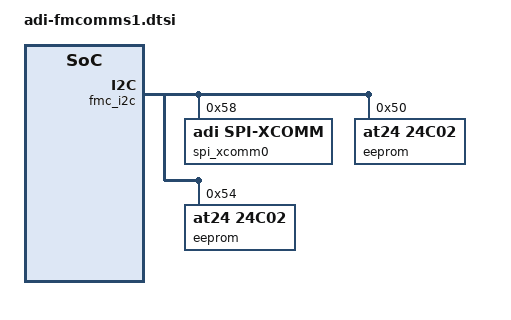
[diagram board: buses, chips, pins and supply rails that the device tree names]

&fmc_i2c {
	spi_xcomm0: spi_xcomm0@58 {
		#size-cells = <0>;
		#address-cells = <1>;
		compatible = "adi,spi-xcomm";
		reg = <0x58>;
		clksync0_ad9548: ad9548-lpc@6 {
			#address-cells = <1>;
			#size-cells = <0>;
			compatible = "adi,ad9548";
			reg = <2>;
			spi-3wire;
			spi-max-frequency = <10000000>;
		};
		clk0_ad9523: ad9523-lpc@3 {
			#address-cells = <1>;
			#size-cells = <0>;
			#clock-cells = <1>;
			compatible = "adi,ad9523-1";
			reg = <3>;
			spi-max-frequency = <10000000>;
			spi-3wire;
			clock-output-names = "ad9523-lpc_out0", "ad9523-lpc_out1", "ad9523-lpc_out2", "ad9523-lpc_out3", "ad9523-lpc_out4", "ad9523-lpc_out5", "ad9523-lpc_out6", "ad9523-lpc_out7", "ad9523-lpc_out8", "ad9523-lpc_out9", "ad9523-lpc_out10", "ad9523-lpc_out11", "ad9523-lpc_out12", "ad9523-lpc_out13";
			adi,vcxo-freq = <122880000>;
			adi,refb-diff-rcv-enable;
			adi,zd-in-diff-enable;
			adi,osc-in-cmos-neg-inp-enable;
			adi,refa-r-div = <0>;
			adi,refb-r-div = <0>;
			adi,pll1-feedback-div = <4>;
			adi,pll1-charge-pump-current-nA = <2000>;
			adi,refa-cmos-neg-inp-enable;
			adi,pll1-loop-filter-rzero = <3>;
			adi,ref-mode = <3>;
			adi,pll2-charge-pump-current-nA = <420000>;
			adi,pll2-ndiv-a-cnt = <0>;
			adi,pll2-ndiv-b-cnt = <3>;
			adi,pll2-freq-doubler-enable;
			adi,pll2-r2-div = <1>;
			adi,pll2-vco-div-m1 = <3>;
			adi,pll2-vco-div-m2 = <3>;
			adi,rpole2 = <0>;
			adi,rzero = <2>;
			adi,cpole1 = <2>;

			ad9523_0_c0:channel@0 {
				reg = <0>;
				adi,extended-name = "ZD_OUTPUT";
				adi,driver-mode = <2>;
				adi,divider-phase = <0>;
				adi,channel-divider = <8>;
			};
			ad9523_0_c12:channel@12 {
				reg = <12>;
				adi,extended-name = "DAC_CLK";
				adi,driver-mode = <1>;
				adi,divider-phase = <0>;
				adi,channel-divider = <2>;
			};
			ad9523_0_c2:channel@2 {
				reg = <2>;
				adi,extended-name = "ADC_CLK";
				adi,driver-mode = <3>;
				adi,divider-phase = <0>;
				adi,channel-divider = <4>;
			};
			ad9523_0_c10:channel@10 {
				reg = <10>;
				adi,extended-name = "DAC_REF_CLK";
				adi,driver-mode = <2>;
				adi,divider-phase = <0>;
				adi,channel-divider = <16>;
			};
			ad9523_0_c5:channel@5 {
				reg = <5>;
				adi,extended-name = "TX_LO_REF_CLK";
				adi,driver-mode = <8>; /* HiZ on - */
				adi,divider-phase = <0>;
				adi,channel-divider = <8>;
				adi,sync-ignore-enable;
			};
			ad9523_0_c6:channel@6 {
				reg = <6>;
				adi,extended-name = "DAC_DCO_CLK";
				adi,driver-mode = <3>;
				adi,divider-phase = <0>;
				adi,channel-divider = <2>;
			};
			ad9523_0_c7:channel@7 {
				reg = <7>;
				adi,extended-name = "ADC_SYNC_CLK";
				adi,driver-mode = <8>; /* HiZ on - */
				adi,divider-phase = <1>;
				adi,channel-divider = <32>;
			};
			ad9523_0_c9:channel@9 {
				reg = <9>;
				adi,extended-name = "RX_LO_REF_CLK";
				adi,driver-mode = <8>; /* HiZ on - */
				adi,divider-phase = <0>;
				adi,channel-divider = <8>;
				adi,sync-ignore-enable;
			};
		};

		adc0_ad9467: ad9467@1 {
			#address-cells = <1>;
			#size-cells = <0>;
			compatible = "adi,ad9643";
			reg = <1>;
			spi-max-frequency = <10000000>;
			spi-3wire;
			clocks = <&clk0_ad9523 2>;
			clock-names = "clkin";
		};

		dac0_ad9122: ad9122@0 {
			#address-cells = <1>;
			#size-cells = <0>;
			compatible = "adi,ad9122";
			reg = <0>;
			spi-max-frequency = <10000000>;
			clocks = <&clk0_ad9523 6>, <&clk0_ad9523 12>, <&clk0_ad9523 10>;
			clock-names = "data_clk", "dac_clk", "ref_clk";
			dac-fcenter-shift = <0>;
			dac-interp-factor = <2>;
			/*dac-data-rate = <491520000>;*/
			dac-data-rate = <245760000>;
			temp-sensor-calibration-temperature-mdeg = <25000>;
		};

		vga0_ad8366: ad8366-lpc@6 {
			#address-cells = <1>;
			#size-cells = <0>;
			compatible = "adi,ad8366";
			reg = <6>;
			spi-3wire;
			spi-max-frequency = <10000000>;
		};

		lo_pll0_rx_adf4351: adf4351-rx-lpc@4 {
			#address-cells = <1>;
			#size-cells = <0>;
			compatible = "adi,adf4351";
			reg = <4>;
			spi-max-frequency = <10000000>;
			clocks = <&clk0_ad9523 9>;
			clock-names = "clkin";
			adi,channel-spacing = <10000>;
			adi,power-up-frequency = <2400000000>;
			adi,phase-detector-polarity-positive-enable;
			adi,charge-pump-current = <2500>;
			adi,output-power = <3>;
			adi,mute-till-lock-enable;
		};

		lo_pll0_tx_adf4351: adf4351-tx-lpc@5 {
			#address-cells = <1>;
			#size-cells = <0>;
			compatible = "adi,adf4351";
			reg = <5>;
			spi-max-frequency = <10000000>;
			clocks = <&clk0_ad9523 5>;
			clock-names = "clkin";
			adi,channel-spacing = <10000>;
			adi,power-up-frequency = <2400000000>;
			adi,phase-detector-polarity-positive-enable;
			adi,charge-pump-current = <2500>;
			adi,output-power = <3>;
			adi,mute-till-lock-enable;
		};

	};

	eeprom@50 {
		compatible = "at24,24c02";
		reg = <0x50>;
	};

	eeprom@54 {
		compatible = "at24,24c02";
		reg = <0x54>;
	};
};
